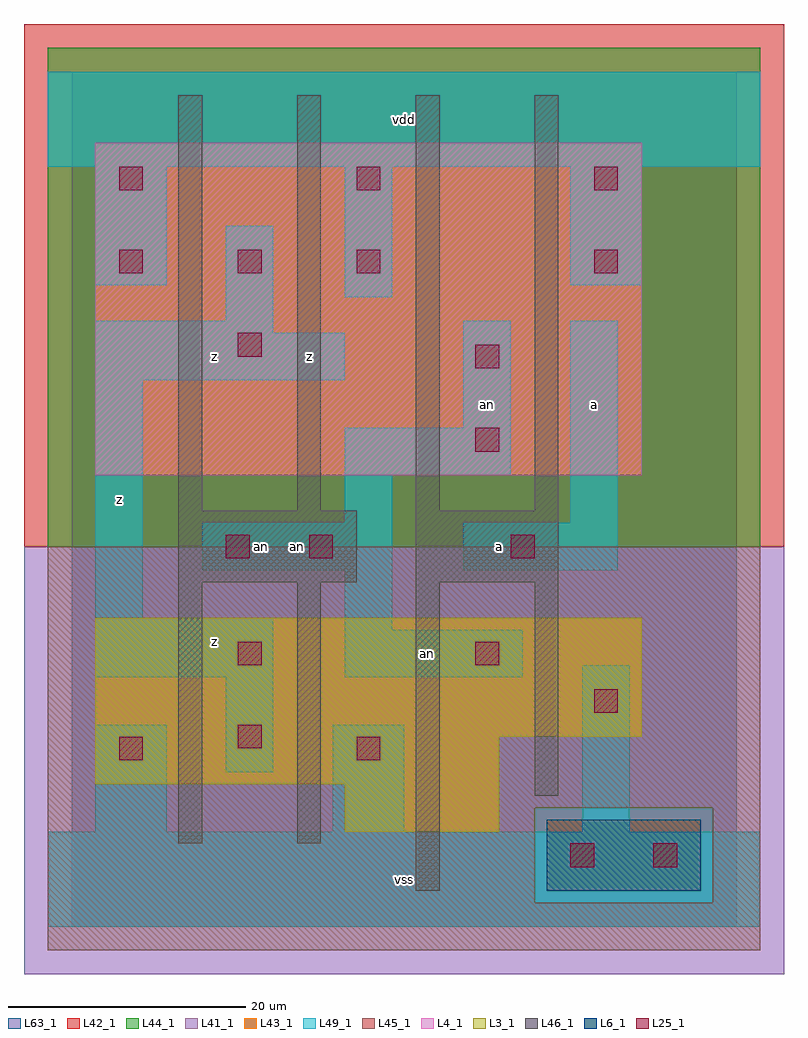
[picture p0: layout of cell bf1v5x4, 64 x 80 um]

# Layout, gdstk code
import gdstk
lib = gdstk.Library(unit=1e-6, precision=1e-09)
def R(c, l, rs):  # rectangles x0, y0, x1, y1
    for r in rs: c.add(gdstk.rectangle(r[:2], r[2:], *l))
def A(c, l, x, y, w, h, nx, ny, dx, dy):  # array of equal rectangles
    R(c, l, [(x+i*dx, y+j*dy, x+i*dx+w, y+j*dy+h) for i in range(nx) for j in range(ny)])
L3_1 = (3, 1)
L4_1 = (4, 1)
L6_1 = (6, 1)
L25_1 = (25, 1)
L41_1 = (41, 1)
L42_1 = (42, 1)
L43_1 = (43, 1)
L44_1 = (44, 1)
L45_1 = (45, 1)
L46_1 = (46, 1)
L49_1 = (49, 1)
L63_1 = (63, 1)

bf1v5x4 = lib.new_cell('bf1v5x4')
R(bf1v5x4, L3_1, [(23,8,36,12), (2,12,36,16), (2,16,48,26)])
R(bf1v5x4, L4_1, [(2,38,48,66)])
R(bf1v5x4, L6_1, [(40,3,53,9), (40,3,53,9)])
A(bf1v5x4, L25_1, 4, 55, 2, 2, 3, 1, 10, 0)
A(bf1v5x4, L25_1, 4, 62, 2, 2, 3, 1, 20, 0)
R(bf1v5x4, L25_1, [(42,5,44,7), (49,5,51,7), (4,14,6,16), (24,14,26,16), (14,15,16,17), (44,18,46,20), (14,22,16,24), (34,22,36,24), (13,31,15,33), (20,31,22,33), (37,31,39,33), (34,40,36,42), (34,47,36,49), (14,48,16,50), (44,55,46,57)])
R(bf1v5x4, L41_1, [(-4,-4,60,32)])
R(bf1v5x4, L42_1, [(-4,32,60,76)])
R(bf1v5x4, L43_1, [(40,3,53,9), (23,8,36,12), (2,12,36,16), (2,16,48,26), (2,38,48,66)])
R(bf1v5x4, L44_1, [(39,2,54,10), (-2,32,58,74)])
R(bf1v5x4, L45_1, [(-2,-2,58,2), (-2,2,39,10), (54,2,58,10), (-2,10,58,32)])
A(bf1v5x4, L46_1, 9, 35, 2, 35, 4, 1, 10, 0)
R(bf1v5x4, L46_1, [(29,3,31,29), (9,7,11,29), (19,7,21,29), (39,11,41,29), (9,29,24,35), (29,29,41,35)])
R(bf1v5x4, L49_1, [(-2,0,58,8), (2,8,8,17), (22,8,28,17), (43,8,47,22), (13,13,17,21), (2,21,17,26), (23,21,38,25), (23,25,27,30), (2,26,6,46), (11,30,27,34), (33,30,46,34), (23,34,27,38), (42,34,46,51), (23,38,37,42), (33,42,37,51), (2,46,23,50), (2,50,17,51), (13,51,17,59), (23,53,27,64), (2,54,8,64), (42,54,48,64), (-2,64,58,72)])
R(bf1v5x4, L63_1, [(0,0,56,72)])
bf1v5x4.add(gdstk.Label('an', (16,32), layer=46, texttype=1))
bf1v5x4.add(gdstk.Label('z', (4,36), layer=49, texttype=1))
bf1v5x4.add(gdstk.Label('z', (12,24), layer=49, texttype=1))
bf1v5x4.add(gdstk.Label('an', (19,32), layer=49, texttype=1))
bf1v5x4.add(gdstk.Label('z', (12,48), layer=49, texttype=1))
bf1v5x4.add(gdstk.Label('z', (20,48), layer=49, texttype=1))
bf1v5x4.add(gdstk.Label('vss', (28,4), layer=49, texttype=1))
bf1v5x4.add(gdstk.Label('an', (30,23), layer=49, texttype=1))
bf1v5x4.add(gdstk.Label('a', (36,32), layer=49, texttype=1))
bf1v5x4.add(gdstk.Label('an', (35,44), layer=49, texttype=1))
bf1v5x4.add(gdstk.Label('vdd', (28,68), layer=49, texttype=1))
bf1v5x4.add(gdstk.Label('a', (44,44), layer=49, texttype=1))

lib.write_gds('bf1v5x4.gds')
